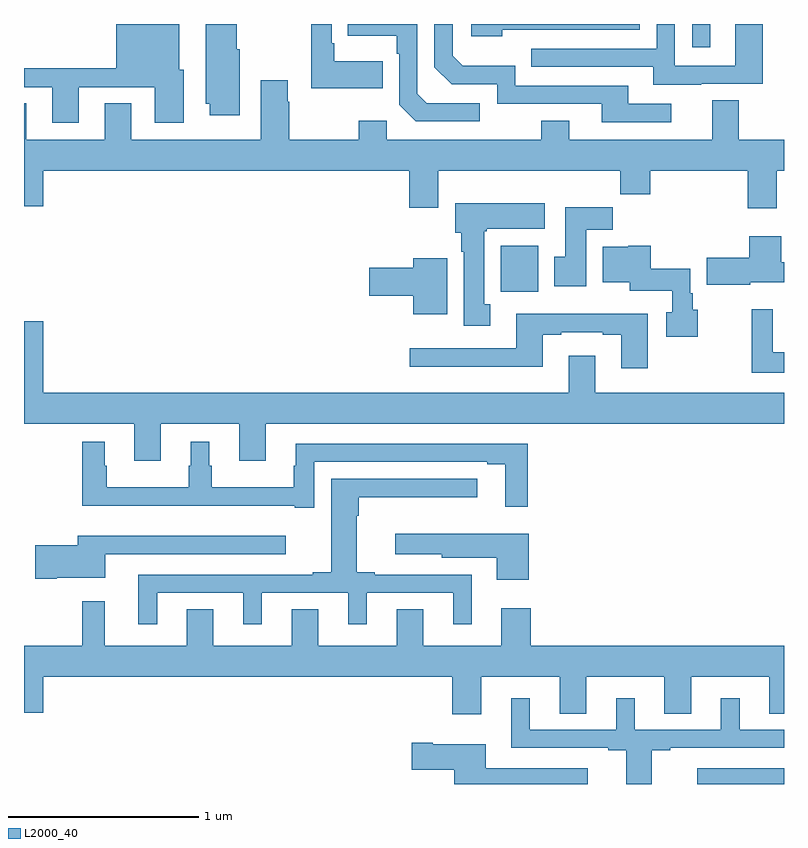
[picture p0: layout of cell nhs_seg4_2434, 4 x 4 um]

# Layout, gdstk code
import gdstk
lib = gdstk.Library(unit=1e-6, precision=1e-09)
def R(c, l, rs):  # rectangles x0, y0, x1, y1
    for r in rs: c.add(gdstk.rectangle(r[:2], r[2:], *l))
def P(c, l, *ps):  # polygons
    for p in ps: c.add(gdstk.Polygon(p, *l))
L2000_40 = (2000, 40)

nhs_seg4_2434 = lib.new_cell('nhs_seg4_2434')
R(nhs_seg4_2434, L2000_40, [(240.543,818.9,241,818.982), (239.51,821.492,239.707,821.734), (240.516,822.777,240.613,822.9)])
P(nhs_seg4_2434, L2000_40, [(238.135,822.768),(238.119,822.768),(238.119,822.9),(237.956,822.9),(237.956,822.48),(237.977,822.48),(237.977,822.42),(238.135,822.42)],
  [(240.406,822.48),(240.181,822.48),(240.181,822.576),(239.586,822.576),(239.586,822.679),(239.309,822.679),(239.256,822.732),(239.256,822.9),(239.16,822.9),(239.16,822.672),(239.25,822.582),(239.49,822.582),(239.49,822.48),(240.041,822.48),(240.041,822.384),(240.406,822.384)],
  [(237.289,822.567),(237.689,822.567),(237.689,822.381),(237.841,822.381),(237.841,822.66),(237.817,822.66),(237.817,822.9),(237.485,822.9),(237.485,822.668),(237,822.668),(237,822.567),(237.149,822.567),(237.149,822.381),(237.289,822.381)],
  [(239.398,822.483),(239.121,822.483),(239.07,822.534),(239.07,822.9),(238.705,822.9),(238.705,822.839),(238.962,822.839),(238.962,822.743),(238.974,822.743),(238.974,822.474),(239.061,822.387),(239.398,822.387)],
  [(238.889,822.703),(238.633,822.703),(238.633,822.799),(238.62,822.799),(238.62,822.9),(238.512,822.9),(238.512,822.563),(238.889,822.563)],
  [(239.516,822.87),(240.24,822.87),(240.24,822.9),(239.355,822.9),(239.355,822.836),(239.516,822.836)],
  [(240.565,822.585),(240.889,822.585),(240.889,822.9),(240.744,822.9),(240.744,822.681),(240.426,822.681),(240.426,822.9),(240.33,822.9),(240.33,822.771),(239.671,822.771),(239.671,822.675),(240.311,822.675),(240.311,822.581),(240.565,822.581)],
  [(240.961,822.128),(241,822.128),(241,822.292),(240.763,822.292),(240.763,822.5),(240.623,822.5),(240.623,822.292),(239.869,822.292),(239.869,822.391),(239.722,822.391),(239.722,822.292),(238.908,822.292),(238.908,822.391),(238.762,822.391),(238.762,822.292),(238.395,822.292),(238.395,822.491),(238.387,822.491),(238.387,822.604),(238.247,822.604),(238.247,822.292),(237.565,822.292),(237.565,822.482),(237.425,822.482),(237.425,822.292),(237.013,822.292),(237.013,822.482),(237,822.482),(237,821.94),(237.1,821.94),(237.1,822.128),(239.027,822.128),(239.027,821.934),(239.179,821.934),(239.179,822.128),(240.139,822.128),(240.139,822.004),(240.296,822.004),(240.296,822.128),(240.809,822.128),(240.809,821.931),(240.961,821.931)],
  [(239.455,821.426),(239.422,821.426),(239.422,821.809),(239.436,821.809),(239.436,821.822),(239.74,821.822),(239.74,821.956),(239.27,821.956),(239.27,821.802),(239.3,821.802),(239.3,821.702),(239.315,821.702),(239.315,821.313),(239.455,821.313)],
  [(239.959,821.816),(240.098,821.816),(240.098,821.935),(239.849,821.935),(239.849,821.676),(239.792,821.676),(239.792,821.52),(239.959,821.52)],
  [(240.822,821.54),(241,821.54),(241,821.647),(240.985,821.647),(240.985,821.782),(240.818,821.782),(240.818,821.67),(240.594,821.67),(240.594,821.528),(240.822,821.528)],
  [(240.546,821.396),(240.52,821.396),(240.52,821.484),(240.507,821.484),(240.507,821.612),(240.298,821.612),(240.298,821.734),(240.18,821.734),(240.18,821.728),(240.047,821.728),(240.047,821.54),(240.188,821.54),(240.188,821.496),(240.411,821.496),(240.411,821.383),(240.38,821.383),(240.38,821.254),(240.546,821.254)],
  [(239.227,821.668),(239.048,821.668),(239.048,821.618),(238.818,821.618),(238.818,821.471),(239.048,821.471),(239.048,821.372),(239.227,821.372)],
  [(241,821.173),(240.94,821.173),(240.94,821.398),(240.831,821.398),(240.831,821.064),(241,821.064)],
  [(240.283,821.374),(239.591,821.374),(239.591,821.193),(239.031,821.193),(239.031,821.096),(239.731,821.096),(239.731,821.265),(239.827,821.265),(239.827,821.277),(240.047,821.277),(240.047,821.265),(240.143,821.265),(240.143,821.088),(240.283,821.088)],
  [(237.721,820.796),(238.133,820.796),(238.133,820.602),(238.273,820.602),(238.273,820.796),(241,820.796),(241,820.96),(240.007,820.96),(240.007,821.155),(239.867,821.155),(239.867,820.96),(237.1,820.96),(237.1,821.335),(237,821.335),(237,820.796),(237.581,820.796),(237.581,820.602),(237.721,820.602)],
  [(238.527,820.596),(239.438,820.596),(239.438,820.584),(239.534,820.584),(239.534,820.359),(239.651,820.359),(239.651,820.692),(238.43,820.692),(238.43,820.574),(238.419,820.574),(238.419,820.462),(237.988,820.462),(237.988,820.574),(237.976,820.574),(237.976,820.702),(237.878,820.702),(237.878,820.574),(237.867,820.574),(237.867,820.462),(237.436,820.462),(237.436,820.574),(237.424,820.574),(237.424,820.702),(237.307,820.702),(237.307,820.364),(238.424,820.364),(238.424,820.353),(238.527,820.353)],
  [(237.7,819.906),(238.154,819.906),(238.154,819.741),(238.252,819.741),(238.252,819.906),(238.706,819.906),(238.706,819.741),(238.804,819.741),(238.804,819.906),(239.258,819.906),(239.258,819.741),(239.356,819.741),(239.356,820.002),(238.846,820.002),(238.846,820.015),(238.75,820.015),(238.75,820.313),(238.763,820.313),(238.763,820.409),(239.386,820.409),(239.386,820.506),(238.616,820.506),(238.616,820.015),(238.52,820.015),(238.52,820.002),(237.602,820.002),(237.602,819.741),(237.7,819.741)],
  [(239.656,820.216),(238.953,820.216),(238.953,820.109),(239.199,820.109),(239.199,820.091),(239.489,820.091),(239.489,819.975),(239.656,819.975)],
  [(237.172,819.986),(237.427,819.986),(237.427,820.11),(238.378,820.11),(238.378,820.207),(237.284,820.207),(237.284,820.157),(237.06,820.157),(237.06,819.979),(237.172,819.979)],
  [(239.666,819.826),(239.513,819.826),(239.513,819.628),(239.101,819.628),(239.101,819.821),(238.961,819.821),(238.961,819.628),(238.549,819.628),(238.549,819.821),(238.409,819.821),(238.409,819.628),(237.997,819.628),(237.997,819.821),(237.857,819.821),(237.857,819.628),(237.425,819.628),(237.425,819.862),(237.307,819.862),(237.307,819.628),(237,819.628),(237,819.276),(237.1,819.276),(237.1,819.464),(239.255,819.464),(239.255,819.267),(239.407,819.267),(239.407,819.464),(239.819,819.464),(239.819,819.271),(239.959,819.271),(239.959,819.464),(240.371,819.464),(240.371,819.271),(240.511,819.271),(240.511,819.464),(240.923,819.464),(240.923,819.271),(241,819.271),(241,819.628),(239.666,819.628)],
  [(240.304,819.078),(240.4,819.078),(240.4,819.09),(241,819.09),(241,819.186),(240.766,819.186),(240.766,819.352),(240.668,819.352),(240.668,819.186),(240.214,819.186),(240.214,819.352),(240.116,819.352),(240.116,819.186),(239.662,819.186),(239.662,819.352),(239.564,819.352),(239.564,819.09),(240.074,819.09),(240.074,819.078),(240.17,819.078),(240.17,818.9),(240.304,818.9)],
  [(239.968,818.983),(239.431,818.983),(239.431,819.109),(239.152,819.109),(239.152,819.117),(239.04,819.117),(239.04,818.975),(239.264,818.975),(239.264,818.9),(239.968,818.9)])

lib.write_gds('nhs_seg4_2434.gds')
